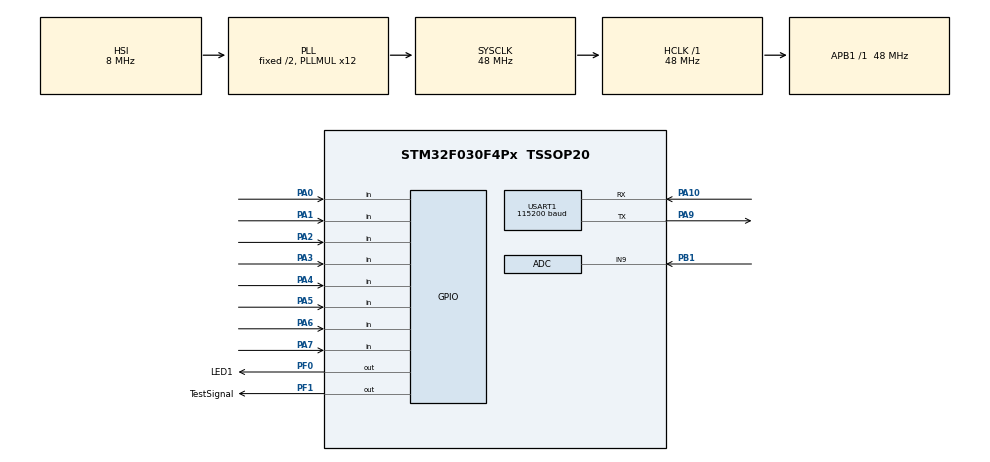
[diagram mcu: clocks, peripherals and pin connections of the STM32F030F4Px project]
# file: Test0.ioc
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ADC.ClockPrescaler=ADC_CLOCK_ASYNC_DIV1
ADC.ContinuousConvMode=ENABLE
ADC.Resolution=ADC_RESOLUTION_8B
Dma.ADC.1.Direction=DMA_PERIPH_TO_MEMORY
Dma.ADC.1.Instance=DMA1_Channel1
Dma.ADC.1.MemDataAlignment=DMA_MDATAALIGN_BYTE
Dma.ADC.1.MemInc=DMA_MINC_ENABLE
Dma.ADC.1.Mode=DMA_NORMAL
Dma.ADC.1.PeriphDataAlignment=DMA_PDATAALIGN_BYTE
Dma.ADC.1.PeriphInc=DMA_PINC_DISABLE
Dma.ADC.1.Priority=DMA_PRIORITY_LOW
Dma.Request0=USART1_TX
Dma.Request1=ADC
Dma.USART1_TX.0.Direction=DMA_MEMORY_TO_PERIPH
Dma.USART1_TX.0.Instance=DMA1_Channel2
Dma.USART1_TX.0.MemDataAlignment=DMA_MDATAALIGN_BYTE
Dma.USART1_TX.0.MemInc=DMA_MINC_ENABLE
Dma.USART1_TX.0.Mode=DMA_NORMAL
Dma.USART1_TX.0.PeriphDataAlignment=DMA_PDATAALIGN_BYTE
Dma.USART1_TX.0.PeriphInc=DMA_PINC_DISABLE
Dma.USART1_TX.0.Priority=DMA_PRIORITY_LOW
Mcu.Family=STM32F0
Mcu.Name=STM32F030F4Px
Mcu.Package=TSSOP20
NVIC.DMA1_Channel1_IRQn=true\:0\:0\:false\:false\:true\:false\:true
NVIC.DMA1_Channel2_3_IRQn=true\:0\:0\:false\:false\:true\:false\:true
NVIC.TIM17_IRQn=true\:0\:0\:false\:false\:true\:true\:true
NVIC.TIM3_IRQn=true\:1\:0\:true\:false\:true\:true\:true
NVIC.USART1_IRQn=true\:0\:0\:true\:false\:true\:true\:true
PA0.GPIO_PuPd=GPIO_PULLDOWN
PA0.Signal=GPIO_Input
PA1.GPIO_PuPd=GPIO_PULLDOWN
PA1.Signal=GPIO_Input
PA10.Mode=Asynchronous
PA10.Signal=USART1_RX
PA13.Mode=Serial_Wire
PA13.Signal=SYS_SWDIO
PA14.Mode=Serial_Wire
PA14.Signal=SYS_SWCLK
PA2.GPIO_PuPd=GPIO_PULLDOWN
PA2.Signal=GPIO_Input
PA3.GPIO_PuPd=GPIO_PULLDOWN
PA3.Signal=GPIO_Input
PA4.GPIO_PuPd=GPIO_PULLDOWN
PA4.Signal=GPIO_Input
PA5.GPIO_PuPd=GPIO_PULLDOWN
PA5.Signal=GPIO_Input
PA6.GPIO_PuPd=GPIO_PULLDOWN
PA6.Signal=GPIO_Input
PA7.GPIO_PuPd=GPIO_PULLDOWN
PA7.Signal=GPIO_Input
PA9.Mode=Asynchronous
PA9.Signal=USART1_TX
PB1.Mode=IN9
PB1.Signal=ADC_IN9
PF0-OSC_IN.GPIO_Label=LED1
PF0-OSC_IN.Signal=GPIO_Output
PF1-OSC_OUT.GPIO_Label=TestSignal
PF1-OSC_OUT.GPIO_Speed=GPIO_SPEED_FREQ_HIGH
PF1-OSC_OUT.Signal=GPIO_Output
ProjectManager.HeapSize=0x200
ProjectManager.StackSize=0x400
ProjectManager.TargetToolchain=Makefile
RCC.AHBFreq_Value=48000000
RCC.APB1Freq_Value=48000000
RCC.APB1TimFreq_Value=48000000
RCC.HCLKFreq_Value=48000000
RCC.PLLMUL=RCC_PLL_MUL12
RCC.SYSCLKFreq_VALUE=48000000
RCC.SYSCLKSource=RCC_SYSCLKSOURCE_PLLCLK
TIM17.AutoReloadPreload=TIM_AUTORELOAD_PRELOAD_ENABLE
TIM17.Period=4
TIM17.Prescaler=47
TIM3.AutoReloadPreload=TIM_AUTORELOAD_PRELOAD_ENABLE
TIM3.Period=999
TIM3.Prescaler=47
USART1.BaudRate=115200
USART1.VirtualMode-Asynchronous=VM_ASYNC
VP_TIM17_VS_ClockSourceINT.Mode=Enable_Timer
VP_TIM3_VS_ClockSourceINT.Mode=Internal
board=custom

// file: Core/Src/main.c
/* USER CODE BEGIN Header */
/**
  ******************************************************************************
  * @file           : main.c
  * @brief          : Main program body
  ******************************************************************************
  * @attention
  *
  * <h2><center>&copy; Copyright (c) 2021 STMicroelectronics.
  * All rights reserved.</center></h2>
  *
  * This software component is licensed by ST under BSD 3-Clause license,
  * the "License"; You may not use this file except in compliance with the
  * License. You may obtain a copy of the License at:
  *                        opensource.org/licenses/BSD-3-Clause
  *
  ******************************************************************************
  */
/* USER CODE END Header */
#include "main.h"
#include "adc.h"
#include "dma.h"
#include "tim.h"
#include "usart.h"
#include "gpio.h"

/* USER CODE BEGIN Includes */
#include "stm32f0xx_hal_adc.h"
/* USER CODE END Includes */

/* USER CODE BEGIN PTD */
extern ADC_HandleTypeDef hadc;
extern DMA_HandleTypeDef hdma_adc;
/* USER CODE END PTD */

/* USER CODE BEGIN PD */
#define DEBUG
/* USER CODE END PD */

void SystemClock_Config(void);

/* USER CODE BEGIN 0 */
my_config_s config={.Index=0,.cc=100,.adcSamplingTime=0,.mode=MODE_LOGIC_ANALYZER,.state=STATE_STOP};

void ControlLED(my_switch_e STATE)
{
  switch (STATE)
  {
  case SWITCH_ON:
    HAL_GPIO_WritePin(LED1_GPIO_Port,LED1_Pin,GPIO_PIN_SET);
    break;
  case SWITCH_OFF:
    HAL_GPIO_WritePin(LED1_GPIO_Port,LED1_Pin,GPIO_PIN_RESET);
    break;
  }
}

void HAL_ADC_ConvCpltCallback(ADC_HandleTypeDef* hadc)
{
  ControlLED(SWITCH_OFF);
  HAL_UART_Transmit_DMA(&huart1,config.dataBuffer,BUFFER_ZIZE);
}

void HAL_UART_TxCpltCallback(UART_HandleTypeDef *huart)
{
  ControlLED(SWITCH_ON);

  if(config.mode==MODE_LOGIC_ANALYZER)
  {
    config.Index=0;
    HAL_TIM_Base_Start_IT(&htim17);
  }
  else if(config.mode==MODE_OSILOSCOP && config.state==STATE_START)
  {
    HAL_ADC_Start_DMA(&hadc,config.dataBuffer,BUFFER_ZIZE);
  }
}

void HAL_TIM_PeriodElapsedCallback(TIM_HandleTypeDef *htim)
{
  if(htim->Instance == TIM17)
  {
    if(config.Index<BUFFER_ZIZE)
    {
      config.dataBuffer[config.Index] = GPIOA->IDR;
      config.Index++;
    }
    else
    {
      HAL_TIM_Base_Stop_IT(&htim17);
      ControlLED(SWITCH_OFF);
      HAL_UART_Transmit_DMA(&huart1,config.dataBuffer,BUFFER_ZIZE);
    }
  }
  else
  {
    HAL_GPIO_TogglePin(TestSignal_GPIO_Port,TestSignal_Pin);
  }
}

void Starting(void)
{
  ControlLED(SWITCH_ON);
  HAL_Delay(200);
  ControlLED(SWITCH_OFF);
  #ifdef DEBUG
  HAL_UART_Transmit(&huart1,(uint8_t*)"Starting\r\n",10,100);
  #endif
}

void ControlLogicSampling(my_switch_e ON_OFF)
{
  if(ON_OFF==SWITCH_ON)
  {
    config.Index=0;
    config.state=STATE_START;
    HAL_TIM_Base_Start_IT(&htim17);
  }
  else
  {
    HAL_TIM_Base_Stop_IT(&htim17);
    HAL_UART_DMAStop(&huart1);
    __HAL_UART_CLEAR_IT(&huart1,UART_CLEAR_TCF);
    ControlLED(SWITCH_OFF);
    config.state=STATE_STOP;
  }
}

void ControlLogicTestPulse(my_switch_e ON_OFF)
{
  if(ON_OFF)
  {
    //HAL_TIM_OC_Start(&htim3,TIM_CHANNEL_4);
    HAL_TIM_Base_Start_IT(&htim3);
  }
  else
  {
    //HAL_TIM_OC_Stop(&htim3,TIM_CHANNEL_4);
    HAL_TIM_Base_Stop_IT(&htim3);
    HAL_GPIO_WritePin(TestSignal_GPIO_Port,TestSignal_Pin,GPIO_PIN_RESET);
  }
}

void ControlADCSampling(my_switch_e ON_OFF)
{
  if(ON_OFF)
  {
    HAL_ADC_Start_DMA(&hadc,config.dataBuffer,BUFFER_ZIZE);
    config.state=STATE_START;
  }
  else
  {
    HAL_ADC_Stop_DMA(&hadc);
    HAL_UART_DMAStop(&huart1);
    __HAL_UART_CLEAR_IT(&huart1,UART_CLEAR_TCF);
    ControlLED(SWITCH_OFF);
    config.state=STATE_STOP;
  }
}

void UpdateADCSampleingTime(uint8_t ST)
{
  ADC_ChannelConfTypeDef sConfig = {0};
  sConfig.Channel = ADC_CHANNEL_9;
  sConfig.Rank = ADC_RANK_CHANNEL_NUMBER;

  sConfig.SamplingTime = ADC_SAMPLETIME_1CYCLE_5;

  switch(ST)
  {
    case 0:sConfig.SamplingTime = ADC_SAMPLETIME_1CYCLE_5;break;
    case 1:sConfig.SamplingTime = ADC_SAMPLETIME_7CYCLES_5;break;
    case 2:sConfig.SamplingTime = ADC_SAMPLETIME_13CYCLES_5;break;
    case 3:sConfig.SamplingTime = ADC_SAMPLETIME_28CYCLES_5;break;
    case 4:sConfig.SamplingTime = ADC_SAMPLETIME_41CYCLES_5;break;
    case 5:sConfig.SamplingTime = ADC_SAMPLETIME_55CYCLES_5;break;
    case 6:sConfig.SamplingTime = ADC_SAMPLETIME_71CYCLES_5;break;
    case 7:sConfig.SamplingTime = ADC_SAMPLETIME_239CYCLES_5;break;
  }

  if(config.state==STATE_START)
  {
    ControlADCSampling(SWITCH_OFF);
    if (HAL_ADC_ConfigChannel(&hadc, &sConfig) != HAL_OK)
    {
      Error_Handler();
    }
    ControlADCSampling(SWITCH_ON);
  }
  else
  {
    if (HAL_ADC_ConfigChannel(&hadc, &sConfig) != HAL_OK)
    {
      Error_Handler();
    }
  }
}

/* USER CODE END 0 */

int main(void)
{
  /* USER CODE BEGIN 1 */
  uint8_t textBuffer[8],C;
  /* USER CODE END 1 */

  /* MCU Configuration--------------------------------------------------------*/

  /* Reset of all peripherals, Initializes the Flash interface and the Systick. */
  HAL_Init();

  /* Configure the system clock */
  SystemClock_Config();

  /* Initialize all configured peripherals */
  MX_GPIO_Init();
  MX_DMA_Init();
  MX_USART1_UART_Init();
  MX_TIM17_Init();
  MX_ADC_Init();
  MX_TIM3_Init();
  /* USER CODE BEGIN 2 */

  Starting();

  /* USER CODE END 2 */

  /* Infinite loop */
  /* USER CODE BEGIN WHILE */
  while (1)
  {
    if(HAL_UART_Receive(&huart1,&C,1,0xffff)==HAL_OK)
    {
      if(C==COMMAND_GET_TIME)
      {
        if(HAL_UART_Receive(&huart1,textBuffer,5,1000)==HAL_OK)
        {
          textBuffer[6]='\0';
          config.cc=atoi((char*)textBuffer);
          htim17.Instance->ARR=config.cc-1;
        }
      }
      else if(C==COMMAND_GET_MODE)
      {
        if(HAL_UART_Receive(&huart1,&C,1,1000)==HAL_OK)
        {
          if(C=='0')config.mode=MODE_LOGIC_ANALYZER;
          else if(C=='1')config.mode=MODE_OSILOSCOP;
        }
      }
      else if(C==COMMAND_GET_ADC_STIME)
      {
        if(HAL_UART_Receive(&huart1,&C,1,1000)==HAL_OK)
        {
          if(C>='0' && C <='9')
          {
            config.adcSamplingTime = C-'0';
            UpdateADCSampleingTime(config.adcSamplingTime);
          }
        }
      }
      else if(C==COMMAND_START)
      {
        if(config.mode==MODE_LOGIC_ANALYZER)
        {
          ControlLogicSampling(SWITCH_ON);
        }
        else if(config.mode==MODE_OSILOSCOP)
        {
          ControlADCSampling(SWITCH_ON);
        }
      }
      else if(C==COMMAND_STOP)
      {
        ControlLogicSampling(SWITCH_OFF);
        ControlADCSampling(SWITCH_OFF);
        ControlLogicTestPulse(SWITCH_OFF);
      }
      else if(C==COMMAND_ENABLE_TEST_PULSE)
      {
        ControlLogicTestPulse(SWITCH_ON);
      }
      else if(C==COMMAND_DISABLE_TEST_PULSE)
      {
        ControlLogicTestPulse(SWITCH_OFF);
      }
    }
    /* USER CODE END WHILE */

  }
}

void SystemClock_Config(void)
{
  RCC_OscInitTypeDef RCC_OscInitStruct = {0};
  RCC_ClkInitTypeDef RCC_ClkInitStruct = {0};
  RCC_PeriphCLKInitTypeDef PeriphClkInit = {0};

  /** Initializes the RCC Oscillators according to the specified parameters
  * in the RCC_OscInitTypeDef structure.
  */
  RCC_OscInitStruct.OscillatorType = RCC_OSCILLATORTYPE_HSI|RCC_OSCILLATORTYPE_HSI14;
  RCC_OscInitStruct.HSIState = RCC_HSI_ON;
  RCC_OscInitStruct.HSI14State = RCC_HSI14_ON;
  RCC_OscInitStruct.HSICalibrationValue = RCC_HSICALIBRATION_DEFAULT;
  RCC_OscInitStruct.HSI14CalibrationValue = 16;
  RCC_OscInitStruct.PLL.PLLState = RCC_PLL_ON;
  RCC_OscInitStruct.PLL.PLLSource = RCC_PLLSOURCE_HSI;
  RCC_OscInitStruct.PLL.PLLMUL = RCC_PLL_MUL12;
  RCC_OscInitStruct.PLL.PREDIV = RCC_PREDIV_DIV1;
  if (HAL_RCC_OscConfig(&RCC_OscInitStruct) != HAL_OK)
  {
    Error_Handler();
  }
  /** Initializes the CPU, AHB and APB buses clocks
  */
  RCC_ClkInitStruct.ClockType = RCC_CLOCKTYPE_HCLK|RCC_CLOCKTYPE_SYSCLK
                              |RCC_CLOCKTYPE_PCLK1;
  RCC_ClkInitStruct.SYSCLKSource = RCC_SYSCLKSOURCE_PLLCLK;
  RCC_ClkInitStruct.AHBCLKDivider = RCC_SYSCLK_DIV1;
  RCC_ClkInitStruct.APB1CLKDivider = RCC_HCLK_DIV1;

  if (HAL_RCC_ClockConfig(&RCC_ClkInitStruct, FLASH_LATENCY_1) != HAL_OK)
  {
    Error_Handler();
  }
  PeriphClkInit.PeriphClockSelection = RCC_PERIPHCLK_USART1;
  PeriphClkInit.Usart1ClockSelection = RCC_USART1CLKSOURCE_PCLK1;
  if (HAL_RCCEx_PeriphCLKConfig(&PeriphClkInit) != HAL_OK)
  {
    Error_Handler();
  }
}

void Error_Handler(void)
{
  __disable_irq();
  while (1)
  {
  }
}

/************************ (C) COPYRIGHT STMicroelectronics *****END OF FILE****/
